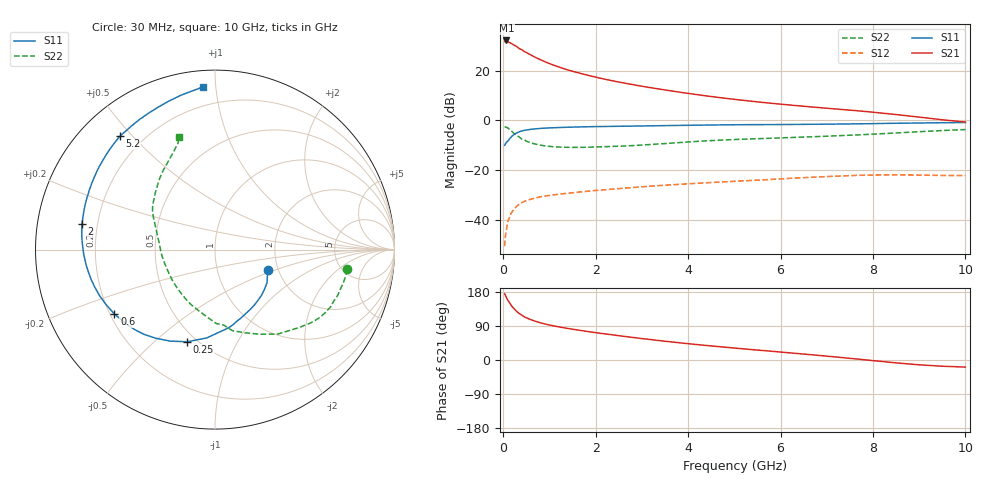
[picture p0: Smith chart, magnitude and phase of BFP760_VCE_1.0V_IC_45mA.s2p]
! Infineon Technologies  Discrete & RF Semiconductors
! BFP760
! VCE =  1.0 V,  IC =  45 mA
! Common Emitter S-Parameters:  Nov 2012
# GHz  S  MA  R  50
!  f  S11  S21  S12  S22
! GHz  MAG  ANG  MAG  ANG  MAG  ANG  MAG  ANG
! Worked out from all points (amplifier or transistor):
!   99 points, 30 MHz to 10 GHz, reference 50 ohm
!   highest |S21| = 32.1 dB at 70 MHz (marker M1)
!   |S21| within 3 dB of that: start of sweep to 329.3 MHz
!   unconditionally stable (mu >= 1): start of sweep to 51.91 MHz; 2.679 GHz to end of sweep
!   at 350 MHz: K = 0.46, MSG = 31.2 dB, |S12| = -33.5 dB
!   at 3.5 GHz: K = 1.09, MAG = 17.3 dB, |S12| = -26.0 dB
!   at 10 GHz: K = 1.20, MAG = 8.0 dB, |S12| = -22.1 dB
!   S11 on the Smith chart (normalised r, x): 30 MHz: 1.77, -0.44; 250 MHz: 0.45, -0.64; 600 MHz: 0.22, -0.28; 2 GHz: 0.14, +0.09; 5.2 GHz: 0.12, +0.46; 10 GHz: 0.09, +0.93
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0.03  0.3169 -20.8  38.38 174.7  0.003 64.2  0.7448 -8.5
0.04  0.3267 -26.7  38.87 173.1  0.0041 66.9  0.7424 -11.6
0.05  0.3436 -32.4  40.31 170.2  0.0049 70.2  0.7385 -14.6
0.07  0.3636 -44.5  40.42 164.5  0.0064 69.3  0.7295 -20.5
0.1  0.3883 -60.4  38.46 157.5  0.0094 64.7  0.708 -29.6
0.15  0.4427 -80.3  36.4 148.5  0.0126 60.4  0.6408 -42.5
0.2  0.4945 -95.4  33.96 139.9  0.0151 54.8  0.5867 -53.3
0.25  0.5364 -106.8  32.15 133.2  0.0173 52.5  0.5336 -62.1
0.35  0.5934 -123.6  27.66 122.4  0.0211 46.9  0.4631 -77.7
0.45  0.6312 -135.0  24.43 114.5  0.0236 43.1  0.412 -89.0
0.6  0.6654 -147.3  20.61 106.2  0.0264 39.3  0.3544 -104.3
0.8  0.6924 -158.2  16.68 98.3  0.0293 36.1  0.3209 -120.2
1  0.7098 -166.4  13.89 92.4  0.0313 34.4  0.3023 -133.0
1.3  0.7271 -175.6  11.06 85.3  0.0339 33.1  0.2905 -147.6
1.7  0.7442 175.1  8.668 77.5  0.0371 32.8  0.2888 -161.7
2  0.7545 169.2  7.437 72.2  0.0394 32.5  0.2943 -170.0
3.4  0.7862 147.9  4.246 50.9  0.0495 31.7  0.3395 163.2
5.1  0.8225 130.7  2.593 30.5  0.0608 28.4  0.4184 146.3
5.2  0.8237 130.0  2.539 29.4  0.0615 28.2  0.4216 145.5
6.7  0.8392 119.6  1.859 13.6  0.0727 23.5  0.4723 133.5
8.5  0.8798 102.8  1.316 -7.6  0.081 12.1  0.5615 117.1
10  0.9104 94.1  0.93 -18.7  0.0785 7.5  0.6581 107.8
